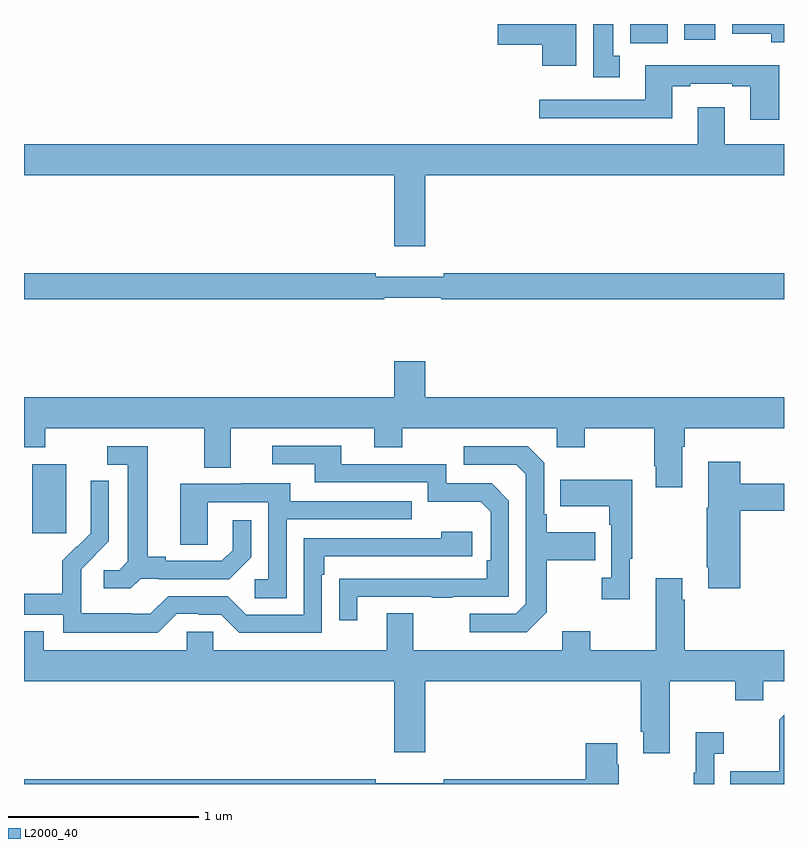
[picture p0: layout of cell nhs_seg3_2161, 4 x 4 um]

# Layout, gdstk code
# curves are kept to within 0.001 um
import gdstk
lib = gdstk.Library(unit=1e-6, precision=1e-09)
def R(c, l, rs):  # rectangles x0, y0, x1, y1
    for r in rs: c.add(gdstk.rectangle(r[:2], r[2:], *l))
def P(c, l, *ps):  # polygons
    for p in ps: c.add(gdstk.Polygon(p, *l))
L2000_40 = (2000, 40)

nhs_seg3_2161 = lib.new_cell('nhs_seg3_2161')
R(nhs_seg3_2161, L2000_40, [(223.043,677.721,223.222,678.082), (226.19,680.3,226.387,680.4), (226.475,680.318,226.639,680.4)])
P(nhs_seg3_2161, L2000_40, [(227,680.4),(226.727,680.4),(226.727,680.348),(226.934,680.348),(226.934,680.303),(227,680.303)],
  [(225.907,680.4),(225.494,680.4),(225.494,680.291),(225.728,680.291),(225.728,680.18),(225.907,680.18)],
  [(226.135,680.234),(226.102,680.234),(226.102,680.4),(225.995,680.4),(225.995,680.121),(226.135,680.121)],
  [(226.976,680.182),(226.271,680.182),(226.271,680.001),(225.711,680.001),(225.711,679.904),(226.411,679.904),(226.411,680.073),(226.507,680.073),(226.507,680.085),(226.727,680.085),(226.727,680.073),(226.823,680.073),(226.823,679.896),(226.976,679.896)],
  [(225.112,679.604),(227,679.604),(227,679.768),(226.687,679.768),(226.687,679.963),(226.547,679.963),(226.547,679.768),(223,679.768),(223,679.604),(224.948,679.604),(224.948,679.23),(225.112,679.23)],
  [(224.896,678.96),(225.196,678.96),(225.196,678.952),(227,678.952),(227,679.088),(225.208,679.088),(225.208,679.069),(224.852,679.069),(224.852,679.088),(223,679.088),(223,678.952),(224.896,678.952)],
  [(226.465,678.176),(226.478,678.176),(226.478,678.272),(227,678.272),(227,678.436),(225.112,678.436),(225.112,678.625),(224.948,678.625),(224.948,678.436),(223,678.436),(223,678.173),(223.113,678.173),(223.113,678.272),(223.949,678.272),(223.949,678.064),(224.089,678.064),(224.089,678.272),(224.843,678.272),(224.843,678.173),(224.991,678.173),(224.991,678.272),(225.804,678.272),(225.804,678.173),(225.951,678.173),(225.951,678.272),(226.318,678.272),(226.318,678.073),(226.325,678.073),(226.325,677.961),(226.465,677.961)],
  [(224.755,677.385),(225.145,677.385),(225.145,677.38),(225.257,677.38),(225.257,677.385),(225.552,677.385),(225.552,677.892),(225.462,677.982),(225.222,677.982),(225.222,678.084),(224.671,678.084),(224.671,678.18),(224.307,678.18),(224.307,678.084),(224.531,678.084),(224.531,677.988),(225.126,677.988),(225.126,677.885),(225.403,677.885),(225.456,677.832),(225.456,677.578),(225.436,677.578),(225.436,677.481),(224.659,677.48),(224.659,677.262),(224.755,677.262)],
  [(225.751,677.305),(225.751,677.578),(226.007,677.578),(226.007,677.725),(225.751,677.725),(225.751,677.821),(225.738,677.821),(225.738,678.09),(225.651,678.177),(225.315,678.177),(225.315,678.081),(225.591,678.081),(225.642,678.03),(225.642,677.349),(225.588,677.295),(225.345,677.295),(225.345,677.199),(225.645,677.199)],
  [(223.614,677.481),(223.708,677.481),(223.708,677.478),(224.08,677.478),(224.196,677.594),(224.196,677.788),(224.099,677.788),(224.099,677.631),(224.042,677.574),(223.747,677.574),(223.747,677.597),(223.651,677.597),(223.651,678.177),(223.437,678.177),(223.437,678.081),(223.547,678.081),(223.547,677.573),(223.5,677.526),(223.419,677.526),(223.419,677.429),(223.562,677.429)],
  [(226.769,677.837),(227,677.837),(227,677.979),(226.769,677.979),(226.769,678.097),(226.601,678.097),(226.601,677.853),(226.594,677.853),(226.594,677.542),(226.601,677.542),(226.601,677.43),(226.769,677.43)],
  [(226.189,677.585),(226.201,677.585),(226.201,678.001),(225.823,678.001),(225.823,677.861),(226.08,677.861),(226.08,677.765),(226.092,677.765),(226.092,677.486),(226.041,677.486),(226.041,677.373),(226.189,677.373)],
  [(223.803,677.295),(223.919,677.295),(223.919,677.292),(224.037,677.292),(224.133,677.196),(224.568,677.196),(224.568,677.501),(224.581,677.501),(224.581,677.598),(225.358,677.598),(225.358,677.728),(225.197,677.728),(225.197,677.694),(224.472,677.694),(224.472,677.292),(224.169,677.292),(224.073,677.388),(223.758,677.388),(223.665,677.295),(223.565,677.295),(223.565,677.299),(223.302,677.299),(223.302,677.433),(223.3,677.433),(223.3,677.53),(223.446,677.678),(223.446,677.996),(223.35,677.996),(223.35,677.842),(223.352,677.842),(223.352,677.72),(223.281,677.649),(223.278,677.652),(223.201,677.575),(223.201,677.401),(223,677.401),(223,677.292),(223.206,677.292),(223.206,677.195),(223.703,677.195)],
  [(224.382,677.793),(225.041,677.793),(225.041,677.889),(224.401,677.889),(224.401,677.983),(224.147,677.983),(224.147,677.979),(223.823,677.979),(223.823,677.659),(223.968,677.659),(223.968,677.883),(224.286,677.883),(224.286,677.478),(224.214,677.478),(224.214,677.377),(224.382,677.377)],
  [(226.399,676.94),(226.744,676.94),(226.744,676.841),(226.891,676.841),(226.891,676.94),(227,676.94),(227,677.104),(226.478,677.104),(226.478,677.369),(226.465,677.369),(226.465,677.482),(226.325,677.482),(226.325,677.104),(225.981,677.104),(225.981,677.203),(225.833,677.203),(225.833,677.104),(225.049,677.104),(225.049,677.299),(224.909,677.299),(224.909,677.104),(223.995,677.104),(223.995,677.202),(223.857,677.202),(223.857,677.104),(223.105,677.104),(223.105,677.203),(223,677.203),(223,676.94),(224.948,676.94),(224.948,676.566),(225.112,676.566),(225.112,676.94),(226.247,676.94),(226.247,676.675),(226.259,676.675),(226.259,676.563),(226.399,676.563)],
  [(227,676.765),(226.974,676.739),(226.974,676.467),(226.717,676.467),(226.717,676.4),(227,676.4)],
  [(226.632,676.559),(226.684,676.559),(226.684,676.672),(226.535,676.672),(226.535,676.459),(226.524,676.459),(226.524,676.4),(226.632,676.4)],
  [(226.131,676.502),(226.123,676.502),(226.123,676.615),(225.956,676.615),(225.956,676.424),(225.208,676.424),(225.208,676.405),(224.852,676.405),(224.852,676.424),(223,676.424),(223,676.4),(226.131,676.4)])

lib.write_gds('nhs_seg3_2161.gds')
